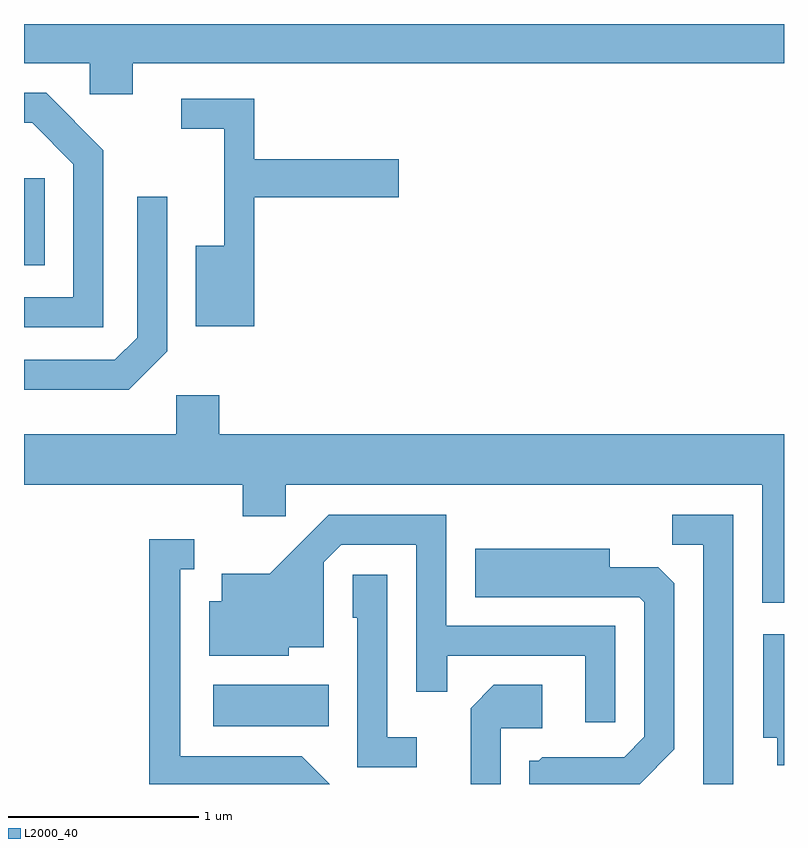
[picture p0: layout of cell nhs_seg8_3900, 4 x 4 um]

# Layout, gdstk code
import gdstk
lib = gdstk.Library(unit=1e-6, precision=1e-09)
def R(c, l, rs):  # rectangles x0, y0, x1, y1
    for r in rs: c.add(gdstk.rectangle(r[:2], r[2:], *l))
def P(c, l, *ps):  # polygons
    for p in ps: c.add(gdstk.Polygon(p, *l))
L2000_40 = (2000, 40)

nhs_seg8_3900 = lib.new_cell('nhs_seg8_3900')
R(nhs_seg8_3900, L2000_40, [(302.606,1890.646,303.214,1890.864), (301.611,1893.071,301.719,1893.529)])
P(nhs_seg8_3900, L2000_40, [(302.184,1894.136),(305.611,1894.136),(305.611,1894.342),(301.611,1894.342),(301.611,1894.136),(301.956,1894.136),(301.956,1893.971),(302.184,1893.971)],
  [(302.029,1893.677),(301.727,1893.979),(301.611,1893.979),(301.611,1893.821),(301.654,1893.821),(301.871,1893.604),(301.871,1892.904),(301.611,1892.904),(301.611,1892.746),(302.029,1892.746)],
  [(302.824,1893.431),(303.584,1893.431),(303.584,1893.629),(302.824,1893.629),(302.824,1893.949),(302.438,1893.949),(302.438,1893.791),(302.666,1893.791),(302.666,1893.174),(302.516,1893.174),(302.516,1892.751),(302.824,1892.751)],
  [(302.364,1892.619),(302.364,1893.433),(302.206,1893.433),(302.206,1892.692),(302.089,1892.574),(301.611,1892.574),(301.611,1892.416),(302.162,1892.416)],
  [(305.611,1892.184),(302.639,1892.184),(302.639,1892.389),(302.411,1892.389),(302.411,1892.184),(301.611,1892.184),(301.611,1891.916),(302.761,1891.916),(302.761,1891.751),(302.989,1891.751),(302.989,1891.916),(305.496,1891.916),(305.496,1891.296),(305.611,1891.296)],
  [(304.724,1891.174),(303.834,1891.174),(303.834,1891.759),(303.214,1891.759),(302.904,1891.449),(302.651,1891.449),(302.651,1891.304),(302.586,1891.304),(302.586,1891.016),(303.004,1891.016),(303.004,1891.061),(303.189,1891.061),(303.189,1891.509),(303.282,1891.601),(303.676,1891.601),(303.676,1890.828),(303.839,1890.828),(303.839,1891.016),(304.566,1891.016),(304.566,1890.668),(304.724,1890.668)],
  [(305.344,1891.759),(305.023,1891.759),(305.023,1891.601),(305.186,1891.601),(305.186,1890.342),(305.344,1890.342)],
  [(303.072,1890.489),(302.434,1890.489),(302.434,1891.471),(302.508,1891.471),(302.508,1891.629),(302.271,1891.629),(302.271,1890.342),(303.219,1890.342)],
  [(305.034,1890.524),(305.034,1891.399),(304.949,1891.484),(304.694,1891.484),(304.694,1891.579),(303.986,1891.579),(303.986,1891.326),(304.849,1891.326),(304.876,1891.299),(304.876,1890.592),(304.769,1890.484),(304.339,1890.484),(304.319,1890.464),(304.271,1890.464),(304.271,1890.342),(304.853,1890.342)],
  [(303.678,1890.589),(303.524,1890.589),(303.524,1891.444),(303.341,1891.444),(303.341,1891.216),(303.366,1891.216),(303.366,1890.431),(303.678,1890.431)],
  [(305.611,1891.129),(305.501,1891.129),(305.501,1890.586),(305.576,1890.586),(305.576,1890.441),(305.611,1890.441)],
  [(304.119,1890.636),(304.339,1890.636),(304.339,1890.864),(304.084,1890.864),(303.961,1890.742),(303.961,1890.342),(304.119,1890.342)])

lib.write_gds('nhs_seg8_3900.gds')
